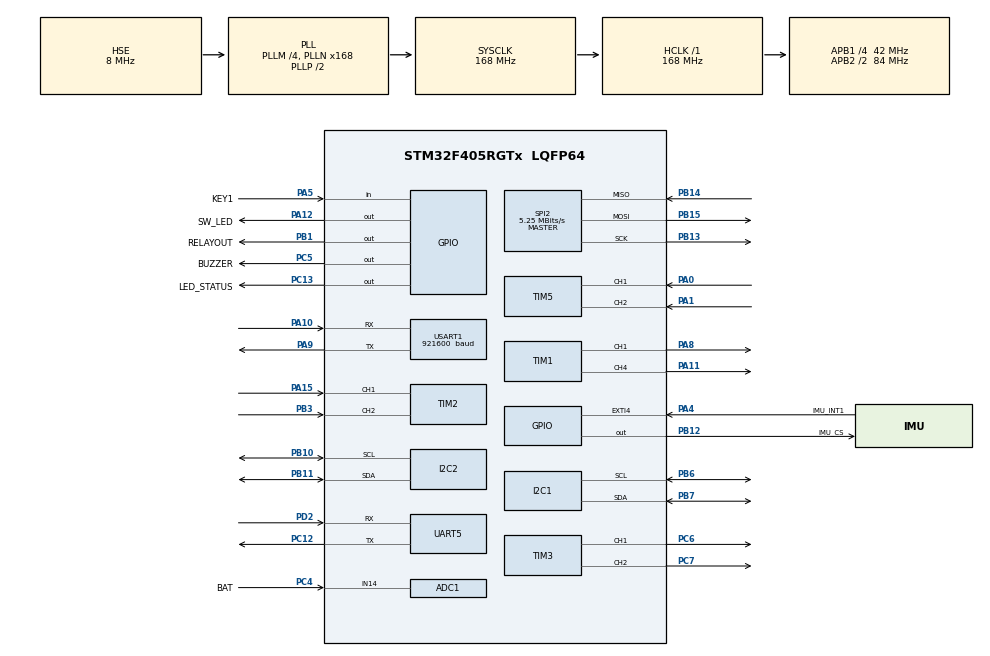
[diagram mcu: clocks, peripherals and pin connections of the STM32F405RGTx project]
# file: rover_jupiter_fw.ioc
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ADC1.Channel-0\#ChannelRegularConversion=ADC_CHANNEL_14
ADC1.NbrOfConversionFlag=1
ADC1.Rank-0\#ChannelRegularConversion=1
ADC1.SamplingTime-0\#ChannelRegularConversion=ADC_SAMPLETIME_3CYCLES
ADC1.master=1
Dma.Request0=USART1_RX
Dma.Request1=USART1_TX
Dma.USART1_RX.0.Direction=DMA_PERIPH_TO_MEMORY
Dma.USART1_RX.0.FIFOMode=DMA_FIFOMODE_DISABLE
Dma.USART1_RX.0.Instance=DMA2_Stream2
Dma.USART1_RX.0.MemDataAlignment=DMA_MDATAALIGN_BYTE
Dma.USART1_RX.0.MemInc=DMA_MINC_ENABLE
Dma.USART1_RX.0.Mode=DMA_CIRCULAR
Dma.USART1_RX.0.PeriphDataAlignment=DMA_PDATAALIGN_BYTE
Dma.USART1_RX.0.PeriphInc=DMA_PINC_DISABLE
Dma.USART1_RX.0.Priority=DMA_PRIORITY_LOW
Dma.USART1_TX.1.Direction=DMA_MEMORY_TO_PERIPH
Dma.USART1_TX.1.FIFOMode=DMA_FIFOMODE_DISABLE
Dma.USART1_TX.1.Instance=DMA2_Stream7
Dma.USART1_TX.1.MemDataAlignment=DMA_MDATAALIGN_BYTE
Dma.USART1_TX.1.MemInc=DMA_MINC_ENABLE
Dma.USART1_TX.1.Mode=DMA_NORMAL
Dma.USART1_TX.1.PeriphDataAlignment=DMA_PDATAALIGN_BYTE
Dma.USART1_TX.1.PeriphInc=DMA_PINC_DISABLE
Dma.USART1_TX.1.Priority=DMA_PRIORITY_LOW
FREERTOS.Tasks01=defaultTask,24,128,StartDefaultTask,Default,NULL,Dynamic,NULL,NULL
FREERTOS.configCHECK_FOR_STACK_OVERFLOW=2
FREERTOS.configTOTAL_HEAP_SIZE=65536
I2C1.I2C_Mode=I2C_Fast
Mcu.Family=STM32F4
Mcu.Name=STM32F405RGTx
Mcu.Package=LQFP64
NVIC.DMA2_Stream2_IRQn=true\:6\:0\:true\:false\:true\:true\:false\:true\:true
NVIC.DMA2_Stream7_IRQn=true\:6\:0\:true\:false\:true\:true\:false\:true\:true
NVIC.EXTI4_IRQn=true\:5\:0\:false\:false\:true\:true\:true\:true\:true
NVIC.PriorityGroup=NVIC_PRIORITYGROUP_4
NVIC.TIM6_DAC_IRQn=true\:15\:0\:false\:false\:true\:false\:false\:true\:true
NVIC.TIM7_IRQn=true\:5\:0\:false\:false\:true\:true\:true\:true\:true
NVIC.TimeBase=TIM6_DAC_IRQn
NVIC.TimeBaseIP=TIM6
NVIC.USART1_IRQn=true\:5\:0\:false\:false\:true\:true\:true\:true\:true
PA0-WKUP.Signal=S_TIM5_CH1
PA1.Signal=S_TIM5_CH2
PA10.Mode=Asynchronous
PA10.Signal=USART1_RX
PA11.Signal=S_TIM1_CH4
PA12.GPIO_Label=SW_LED
PA12.Signal=GPIO_Output
PA13.Mode=Serial_Wire
PA13.Signal=SYS_JTMS-SWDIO
PA14.Mode=Serial_Wire
PA14.Signal=SYS_JTCK-SWCLK
PA15.Signal=S_TIM2_CH1_ETR
PA4.GPIO_Label=IMU_INT1
PA4.Signal=GPXTI4
PA5.GPIO_Label=KEY1
PA5.Signal=GPIO_Input
PA8.Signal=S_TIM1_CH1
PA9.Mode=Asynchronous
PA9.Signal=USART1_TX
PB1.GPIO_Label=RELAYOUT
PB1.Signal=GPIO_Output
PB10.Mode=I2C
PB10.Signal=I2C2_SCL
PB11.Mode=I2C
PB11.Signal=I2C2_SDA
PB12.GPIO_Label=IMU_CS
PB12.Signal=GPIO_Output
PB13.Mode=Full_Duplex_Master
PB13.Signal=SPI2_SCK
PB14.Mode=Full_Duplex_Master
PB14.Signal=SPI2_MISO
PB15.Mode=Full_Duplex_Master
PB15.Signal=SPI2_MOSI
PB3.Signal=S_TIM2_CH2
PB6.Mode=I2C
PB6.Signal=I2C1_SCL
PB7.Mode=I2C
PB7.Signal=I2C1_SDA
PC12.Mode=Asynchronous
PC12.Signal=UART5_TX
PC13-ANTI_TAMP.GPIO_Label=LED_STATUS
PC13-ANTI_TAMP.Signal=GPIO_Output
PC4.GPIO_Label=BAT
PC4.Signal=ADCx_IN14
PC5.GPIO_Label=BUZZER
PC5.Signal=GPIO_Output
PC6.Signal=S_TIM3_CH1
PC7.Signal=S_TIM3_CH2
PD2.Mode=Asynchronous
PD2.Signal=UART5_RX
PH0-OSC_IN.Mode=HSE-External-Oscillator
PH0-OSC_IN.Signal=RCC_OSC_IN
PH1-OSC_OUT.Mode=HSE-External-Oscillator
PH1-OSC_OUT.Signal=RCC_OSC_OUT
ProjectManager.HeapSize=0x200
ProjectManager.StackSize=0x400
ProjectManager.TargetToolchain=Makefile
RCC.48MHZClocksFreq_Value=84000000
RCC.AHBFreq_Value=168000000
RCC.APB1CLKDivider=RCC_HCLK_DIV4
RCC.APB1Freq_Value=42000000
RCC.APB1TimFreq_Value=84000000
RCC.APB2CLKDivider=RCC_HCLK_DIV2
RCC.APB2Freq_Value=84000000
RCC.APB2TimFreq_Value=168000000
RCC.CortexFreq_Value=168000000
RCC.HCLKFreq_Value=168000000
RCC.HSE_VALUE=8000000
RCC.HSI_VALUE=16000000
RCC.LSE_VALUE=32768
RCC.PLLM=4
RCC.PLLN=168
RCC.PLLSourceVirtual=RCC_PLLSOURCE_HSE
RCC.SYSCLKFreq_VALUE=168000000
RCC.SYSCLKSource=RCC_SYSCLKSOURCE_PLLCLK
RCC.VCOOutputFreq_Value=336000000
SH.ADCx_IN14.0=ADC1_IN14,IN14
SH.S_TIM1_CH1.0=TIM1_CH1,PWM Generation1 CH1
SH.S_TIM1_CH4.0=TIM1_CH4,PWM Generation4 CH4
SH.S_TIM2_CH1_ETR.0=TIM2_CH1,Encoder_Interface
SH.S_TIM2_CH2.0=TIM2_CH2,Encoder_Interface
SH.S_TIM3_CH1.0=TIM3_CH1,PWM Generation1 CH1
SH.S_TIM3_CH2.0=TIM3_CH2,PWM Generation2 CH2
SH.S_TIM5_CH1.0=TIM5_CH1,Encoder_Interface
SH.S_TIM5_CH2.0=TIM5_CH2,Encoder_Interface
SPI2.BaudRatePrescaler=SPI_BAUDRATEPRESCALER_8
SPI2.CLKPhase=SPI_PHASE_2EDGE
SPI2.CLKPolarity=SPI_POLARITY_HIGH
SPI2.CalculateBaudRate=5.25 MBits/s
SPI2.Direction=SPI_DIRECTION_2LINES
SPI2.Mode=SPI_MODE_MASTER
SPI2.VirtualType=VM_MASTER
TIM1.Channel-PWM\ Generation1\ CH1=TIM_CHANNEL_1
TIM1.Channel-PWM\ Generation4\ CH4=TIM_CHANNEL_4
TIM2.EncoderMode=TIM_ENCODERMODE_TI12
TIM3.Channel-PWM\ Generation1\ CH1=TIM_CHANNEL_1
TIM3.Channel-PWM\ Generation2\ CH2=TIM_CHANNEL_2
TIM5.EncoderMode=TIM_ENCODERMODE_TI12
TIM7.Period=9999
TIM7.Prescaler=8399
UART5.VirtualMode=Asynchronous
USART1.BaudRate=921600 
USART1.VirtualMode=VM_ASYNC
VP_FREERTOS_VS_CMSIS_V2.Mode=CMSIS_V2
VP_SYS_VS_tim6.Mode=TIM6
VP_TIM7_VS_ClockSourceINT.Mode=Enable_Timer
board=custom

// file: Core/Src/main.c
/* USER CODE BEGIN Header */
/**
  ******************************************************************************
  * @file           : main.c
  * @brief          : Main program body
  ******************************************************************************
  * @attention
  *
  * Copyright (c) 2026 STMicroelectronics.
  * All rights reserved.
  *
  * This software is licensed under terms that can be found in the LICENSE file
  * in the root directory of this software component.
  * If no LICENSE file comes with this software, it is provided AS-IS.
  *
  ******************************************************************************
  */
/* USER CODE END Header */
#include "main.h"
#include "cmsis_os.h"
#include "adc.h"
#include "dma.h"
#include "i2c.h"
#include "spi.h"
#include "tim.h"
#include "usart.h"
#include "gpio.h"

/* USER CODE BEGIN Includes */
#include <stdio.h>
#include <string.h>
#include "imu_processor.h"
#include "i_motor_driver.h"
/* USER CODE END Includes */

void SystemClock_Config(void);
void MX_FREERTOS_Init(void);
/* USER CODE BEGIN PFP */
int __io_putchar(int ch);
/* USER CODE END PFP */

int main(void)
{

  /* MCU Configuration--------------------------------------------------------*/

  /* Reset of all peripherals, Initializes the Flash interface and the Systick. */
  HAL_Init();

  /* USER CODE BEGIN Init */
  /* 부팅 즉시 모터 속도지령(청색 PWM) 라인을 LOW 로 강제 — 런어웨이 차단.
   * 통합 BLDC 컨트롤러 청색선 내부 풀업 때문에 리셋 직후 Hi-Z 가 HIGH(=100% 지령)로
   * 읽혀 모터가 돈다. 가능한 가장 이른 시점에 PP 출력 LOW 로 눌러둔다.
   * (PC6=우측 M1A, PA11=좌측 M3A) MX_TIMx_Init 가 이 핀을 AF 로 바꾸기 전까지 유효.
   * TODO(production): 청색선에 HW 풀다운 저항 — 리셋/폴트 전 구간 fail-safe. */
  __HAL_RCC_GPIOA_CLK_ENABLE();
  __HAL_RCC_GPIOC_CLK_ENABLE();
  {
    GPIO_InitTypeDef gi = {0};
    gi.Mode  = GPIO_MODE_OUTPUT_PP;
    gi.Pull  = GPIO_NOPULL;
    gi.Speed = GPIO_SPEED_FREQ_LOW;
    gi.Pin   = GPIO_PIN_11;                /* PA11 = M3A (좌측 속도지령) */
    HAL_GPIO_Init(GPIOA, &gi);
    gi.Pin   = GPIO_PIN_6;                 /* PC6 = M1A (우측 속도지령) */
    HAL_GPIO_Init(GPIOC, &gi);
    HAL_GPIO_WritePin(GPIOA, GPIO_PIN_11, GPIO_PIN_RESET);
    HAL_GPIO_WritePin(GPIOC, GPIO_PIN_6, GPIO_PIN_RESET);
  }
  /* USER CODE END Init */

  /* Configure the system clock */
  SystemClock_Config();

  /* Initialize all configured peripherals */
  MX_GPIO_Init();
  MX_DMA_Init();
  MX_TIM1_Init();
  MX_TIM2_Init();
  MX_TIM3_Init();
  MX_TIM5_Init();
  MX_TIM7_Init();
  MX_USART1_UART_Init();
  MX_ADC1_Init();
  MX_I2C1_Init();
  MX_I2C2_Init();
  MX_SPI2_Init();
  MX_UART5_Init();
  /* USER CODE BEGIN 2 */
  /* 모터 정지선(속도 PWM) 즉시 확보 — MX_TIMx_Init 가 PC6/PA11 을 AF 로 바꾼 직후
   * PWM 을 start(CCR=0) 해서 능동 LOW 로 구동. 그래야 스케줄러 시작 전 ~수초
   * 구간(IMU init 등)에 속도선이 떠서 모터가 도는 일이 없다.
   * f1_sanity_init() 에서 한 번 더 호출되지만 재호출은 무해(멱등). */
  motor_driver_init();

  /* F0 부팅 사인: 부저 50ms 비프 + UART5 배너 */
  HAL_GPIO_WritePin(BUZZER_GPIO_Port, BUZZER_Pin, GPIO_PIN_SET);
  HAL_Delay(50);
  HAL_GPIO_WritePin(BUZZER_GPIO_Port, BUZZER_Pin, GPIO_PIN_RESET);

  printf("\r\n");
  printf("=========================================\r\n");
  printf(" Rover Jupiter F405 - F0 boot OK\r\n");
  printf(" SYSCLK=168MHz  build=%s %s\r\n", __DATE__, __TIME__);
  printf("=========================================\r\n");

  /* ICM-20948 + AK09916 HW init — **scheduler 시작 전** bare-metal 단계에서
   * 수행. task race 차단 + cold-boot recovery (CS strobe, MISO pull-up,
   * dummy read) 가 안정적으로 동작. sandbox (c:\Workspace\Code\sandbox\icm20948)
   * 와 동일한 시점·순서. */
  imu_processor_init();
  /* USER CODE END 2 */

  /* Init scheduler */
  osKernelInitialize();  /* Call init function for freertos objects (in cmsis_os2.c) */
  MX_FREERTOS_Init();

  /* Start scheduler */
  osKernelStart();

  /* We should never get here as control is now taken by the scheduler */

  /* Infinite loop */
  while (1)
  {

  }
}

void SystemClock_Config(void)
{
  RCC_OscInitTypeDef RCC_OscInitStruct = {0};
  RCC_ClkInitTypeDef RCC_ClkInitStruct = {0};

  /** Configure the main internal regulator output voltage
  */
  __HAL_RCC_PWR_CLK_ENABLE();
  __HAL_PWR_VOLTAGESCALING_CONFIG(PWR_REGULATOR_VOLTAGE_SCALE1);

  /** Initializes the RCC Oscillators according to the specified parameters
  * in the RCC_OscInitTypeDef structure.
  */
  RCC_OscInitStruct.OscillatorType = RCC_OSCILLATORTYPE_HSE;
  RCC_OscInitStruct.HSEState = RCC_HSE_ON;
  RCC_OscInitStruct.PLL.PLLState = RCC_PLL_ON;
  RCC_OscInitStruct.PLL.PLLSource = RCC_PLLSOURCE_HSE;
  RCC_OscInitStruct.PLL.PLLM = 4;
  RCC_OscInitStruct.PLL.PLLN = 168;
  RCC_OscInitStruct.PLL.PLLP = RCC_PLLP_DIV2;
  RCC_OscInitStruct.PLL.PLLQ = 4;
  if (HAL_RCC_OscConfig(&RCC_OscInitStruct) != HAL_OK)
  {
    Error_Handler();
  }

  /** Initializes the CPU, AHB and APB buses clocks
  */
  RCC_ClkInitStruct.ClockType = RCC_CLOCKTYPE_HCLK|RCC_CLOCKTYPE_SYSCLK
                              |RCC_CLOCKTYPE_PCLK1|RCC_CLOCKTYPE_PCLK2;
  RCC_ClkInitStruct.SYSCLKSource = RCC_SYSCLKSOURCE_PLLCLK;
  RCC_ClkInitStruct.AHBCLKDivider = RCC_SYSCLK_DIV1;
  RCC_ClkInitStruct.APB1CLKDivider = RCC_HCLK_DIV4;
  RCC_ClkInitStruct.APB2CLKDivider = RCC_HCLK_DIV2;

  if (HAL_RCC_ClockConfig(&RCC_ClkInitStruct, FLASH_LATENCY_5) != HAL_OK)
  {
    Error_Handler();
  }
}

/* USER CODE BEGIN 4 */
/* printf 리타게팅: stdout → UART5 (디버그 콘솔, 115200) */
int __io_putchar(int ch)
{
  HAL_UART_Transmit(&huart5, (uint8_t *)&ch, 1, HAL_MAX_DELAY);
  return ch;
}
/* USER CODE END 4 */

void HAL_TIM_PeriodElapsedCallback(TIM_HandleTypeDef *htim)
{
  if (htim->Instance == TIM6)
  {
    HAL_IncTick();
  }
}

void Error_Handler(void)
{
  __disable_irq();
  while (1)
  {
  }
}

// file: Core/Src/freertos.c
/* USER CODE BEGIN Header */
/**
  ******************************************************************************
  * File Name          : freertos.c
  * Description        : Code for freertos applications
  ******************************************************************************
  * @attention
  *
  * Copyright (c) 2026 STMicroelectronics.
  * All rights reserved.
  *
  * This software is licensed under terms that can be found in the LICENSE file
  * in the root directory of this software component.
  * If no LICENSE file comes with this software, it is provided AS-IS.
  *
  ******************************************************************************
  */
/* USER CODE END Header */

#include "FreeRTOS.h"
#include "task.h"
#include "main.h"
#include "cmsis_os.h"

/* USER CODE BEGIN Includes */
#include <stdio.h>
#include "f1_sanity_task.h"
#include "f4_pid_test.h"
#include "bldc_ramp_test.h"
#include "fg_count_test.h"
#include "cli_task.h"
#include "i_encoder.h"
#include "speed_controller.h"
#include "safety_monitor.h"
#include "odometry.h"
#include "imu_processor.h"
#include "microros_task.h"
#include "display_task.h"
#include "battery_adc.h"
/* USER CODE END Includes */

/* USER CODE BEGIN Variables */
/* F1 검증: 페리페럴 sanity 태스크. heap·tick 정보도 함께 dump. */
osThreadId_t f1SanityTaskHandle;
const osThreadAttr_t f1SanityTask_attributes = {
  .name = "f1Sanity",
  .stack_size = 512 * 4,   /* SPI/I2C HAL + printf 여유 */
  .priority = (osPriority_t) osPriorityBelowNormal,
};
/* F4 검증: 폐루프 PID + 스톨 시퀀스 (F2 는 비활성 — 매핑/방향 검증 완료). */
osThreadId_t f4PidTaskHandle;
const osThreadAttr_t f4PidTask_attributes = {
  .name = "f4Pid",
  .stack_size = 256 * 4,
  .priority = (osPriority_t) osPriorityBelowNormal,
};
/* 0단계 검증: 통합 BLDC 개방루프 duty 램프 테스트 (평소 비활성). */
osThreadId_t bldcRampTaskHandle;
const osThreadAttr_t bldcRampTask_attributes = {
  .name = "bldcRamp",
  .stack_size = 512 * 4,   /* printf 여유 */
  .priority = (osPriority_t) osPriorityBelowNormal,
};
/* FG PPR 측정: 펄스 카운터 진단 (평소 비활성). */
osThreadId_t fgCountTaskHandle;
const osThreadAttr_t fgCountTask_attributes = {
  .name = "fgCount",
  .stack_size = 512 * 4,
  .priority = (osPriority_t) osPriorityBelowNormal,
};
/* 시리얼 CLI: 명령 입력으로 수동 모터 제어 (평소 비활성). */
osThreadId_t cliTaskHandle;
const osThreadAttr_t cliTask_attributes = {
  .name = "cli",
  .stack_size = 512 * 4,
  .priority = (osPriority_t) osPriorityBelowNormal,
};
/* F3/F4 통합: 100 Hz 제어 루프 — encoder_update_velocity →
   speed_controller_update → safety_monitor_update 를 단일 task 에서 sequencing.
   다른 진단/UI 태스크보다 살짝 높은 우선순위로 dt jitter 최소화. */
osThreadId_t controlTaskHandle;
const osThreadAttr_t controlTask_attributes = {
  .name = "control",
  .stack_size = 256 * 4,   /* PID·monitor 호출 여유 */
  .priority = (osPriority_t) osPriorityAboveNormal,
};
/* F5b: micro-ROS executor + publisher. rclc·rmw 호출 깊이 큼.
 * 권장 12 KB 였으나 F405 RAM 제약 → 6 KB 로 시작. stack overflow 검출(option 2)
 * 활성이라 오버 시 hook 에서 잡힘. 부족하면 8 KB 로 상향. */
osThreadId_t microrosTaskHandle;
const osThreadAttr_t microrosTask_attributes = {
  .name = "uros",
  .stack_size = 1536 * 4,   /* 6 KB */
  .priority = (osPriority_t) osPriorityNormal,
};
/* 2026-09-28: OLED 상태 표시 (J8 → I2C2, SSD1306 128×32). 1 Hz 갱신, 블로킹 I2C 50 ms → 가장 낮은 우선순위.
 * snprintf·HAL I2C 호출 깊이 여유로 384 워드. */
osThreadId_t displayTaskHandle;
const osThreadAttr_t displayTask_attributes = {
  .name = "oled",
  .stack_size = 384 * 4,
  .priority = (osPriority_t) osPriorityLow,
};
/* USER CODE END Variables */
/* Definitions for defaultTask */
osThreadId_t defaultTaskHandle;
const osThreadAttr_t defaultTask_attributes = {
  .name = "defaultTask",
  .stack_size = 128 * 4,
  .priority = (osPriority_t) osPriorityNormal,
};

/* USER CODE BEGIN FunctionPrototypes */
void StartF1SanityTask(void *argument);
void StartControlTask(void *argument);
/* USER CODE END FunctionPrototypes */

void StartDefaultTask(void *argument);

void MX_FREERTOS_Init(void); /* (MISRA C 2004 rule 8.1) */

/* Hook prototypes */
void vApplicationStackOverflowHook(xTaskHandle xTask, signed char *pcTaskName);

/* USER CODE BEGIN 4 */
void vApplicationStackOverflowHook(xTaskHandle xTask, signed char *pcTaskName)
{
   /* Run time stack overflow checking is performed if
   configCHECK_FOR_STACK_OVERFLOW is defined to 1 or 2. This hook function is
   called if a stack overflow is detected. */
}
/* USER CODE END 4 */

void MX_FREERTOS_Init(void) {

  /* Create the thread(s) */
  /* creation of defaultTask */
  defaultTaskHandle = osThreadNew(StartDefaultTask, NULL, &defaultTask_attributes);

  /* USER CODE BEGIN RTOS_THREADS */
  f1SanityTaskHandle = osThreadNew(StartF1SanityTask, NULL, &f1SanityTask_attributes);
  controlTaskHandle  = osThreadNew(StartControlTask,  NULL, &controlTask_attributes);
  /* F4 PID step response 시퀀스 (튜닝/회귀 확인용, 평소 비활성).
   * 활성 시 control task 와 함께 켜둘 것 (F4 는 target 설정, control 이 PID). */
  /* f4PidTaskHandle = osThreadNew(f4_pid_test_run, NULL, &f4PidTask_attributes); */
  /* 시리얼 CLI 수동 제어 — control task 와 함께 활성. 끝나면 아래 한 줄 주석. */
  cliTaskHandle = osThreadNew(cli_task_run, NULL, &cliTask_attributes);
  /* 0단계 BLDC 램프 테스트 — 활성하려면 아래 한 줄 주석 해제.
   * ⚠ 동시에 위 controlTask 줄을 주석 처리할 것 (PID 가 duty 0 으로 덮어씀). */
  /* bldcRampTaskHandle = osThreadNew(bldc_ramp_test_run, NULL, &bldcRampTask_attributes); */
  /* FG PPR 측정 — 활성하려면 아래 한 줄 주석 해제. (control 과 공존 가능, 모터 정지) */
  /* fgCountTaskHandle = osThreadNew(fg_count_test_run, NULL, &fgCountTask_attributes); */
  microrosTaskHandle = osThreadNew(microros_task_run, NULL, &microrosTask_attributes);
  battery_adc_init();   /* ADC 공유 뮤텍스 — 태스크들이 쓰기 전에(스케줄러 시작 전) 만든다 */
  displayTaskHandle = osThreadNew(display_task_run, NULL, &displayTask_attributes);
  /* USER CODE END RTOS_THREADS */

}

void StartDefaultTask(void *argument)
{
  /* USER CODE BEGIN StartDefaultTask */
  /* F0 검증: PC13 상태 LED 1Hz 토글 (defaultTask 동작 신호) */
  for(;;)
  {
    HAL_GPIO_TogglePin(LED_STATUS_GPIO_Port, LED_STATUS_Pin);
    osDelay(500);
  }
  /* USER CODE END StartDefaultTask */
}

/* USER CODE BEGIN Application */
/**
 * @brief F1 검증 태스크.
 *        시작 시 모든 드라이버 init 호출 → 결과 dump.
 *        이후 1Hz 로 엔코더 카운트·ADC·IMU WHO_AM_I 라이브 출력.
 */
void StartF1SanityTask(void *argument)
{
  /* 스케줄러가 충분히 안정된 후 시작 */
  osDelay(100);
  f1_sanity_init();
  for(;;)
  {
    f1_sanity_tick();
    osDelay(1000);
  }
}

/**
 * @brief F3/F4 통합 제어 루프 — 100 Hz.
 *        순서: encoder 속도 업데이트 → PID → safety monitor.
 *        같은 dt 내에 sequencing 함으로써 PID 가 항상 최신 actual 사용.
 */
void StartControlTask(void *argument)
{
  (void)argument;
  /* f1_sanity_init() 이 encoder_init() · motor_driver_init() 마치길 대기. */
  osDelay(200);
  speed_controller_init();
  safety_monitor_init();
  odometry_init();
  /* imu_processor_init() 은 main.c (scheduler 시작 전) 에서 호출 — SPI race 차단. */

  uint32_t next = osKernelGetTickCount();
  const uint32_t period_ticks = 10u;  /* 10 ms = 100 Hz */
  for(;;)
  {
    encoder_update_velocity();
    speed_controller_update();
    safety_monitor_update();
    odometry_update();
    imu_processor_update();   /* F7: SPI burst read + SI 변환 */
    next += period_ticks;
    osDelayUntil(next);
  }
}
/* USER CODE END Application */
